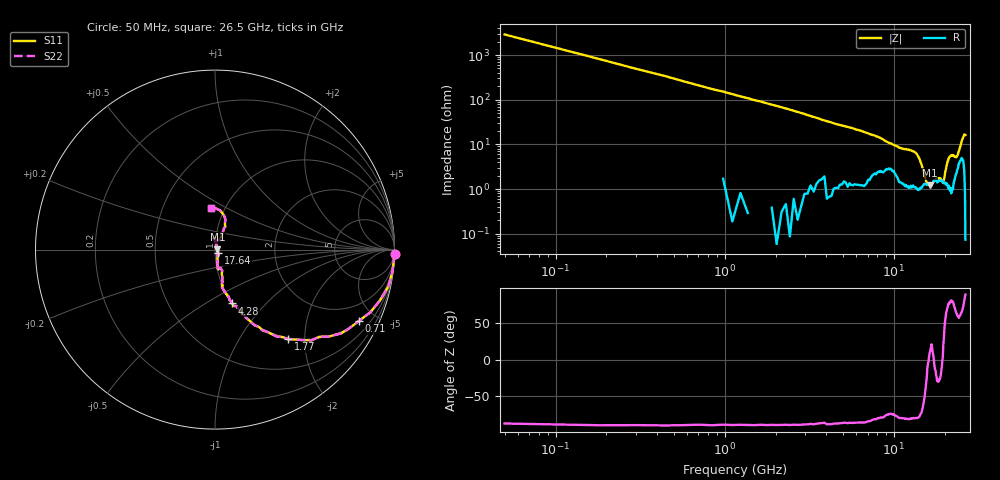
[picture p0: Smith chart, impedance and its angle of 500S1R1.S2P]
!  American Technical Ceramics  Date:  3/6/98
!  One Norden Lane
!  Huntington Station,  NY.  11746-2102
!  Tel:  (516) 547-5700  Fax:  (516) 547-5748
!  Part Number  500S1R1
!  Description: Broadband Microwave capacitor
!  Application:
# GHZ S DB R 50
! Freq  |S11|  S11 Ph  |S21|  S21 Ph  |S12|  S12 Ph  |S22|  S22 Ph
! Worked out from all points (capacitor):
!   201 points, 50 MHz to 26.5 GHz, reference 50 ohm
!   read as one part in series: C = 1.08 pF near 180 MHz
!   lowest |Z| = 1.21 ohm at 16.32 GHz (marker M1)
!   series resonance near 16.08 GHz, so ESL is about 91 pH
!   S11 on the Smith chart (normalised r, x): 50 MHz: -4, -81; 710 MHz: 1.01, -4.03; 1.77 GHz: 0.98, -1.67; 4.28 GHz: 0.99, -0.66; 17.64 GHz: 1.03, -0.04; 26.5 GHz: 0.86, +0.42
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0.05  0.01 -1.4  -29.19 86.4  -29.19 86.4  0.01 -1.4
0.18  -0.03 -7.0  -18.30 83.3  -18.30 83.3  -0.03 -7.0
0.31  -0.11 -11.9  -13.63 78.1  -13.63 78.1  -0.11 -11.9
0.71  -0.96 -26.4  -7.27 63.1  -7.27 63.1  -0.96 -26.4
1.77  -3.81 -50.7  -2.28 39.1  -2.28 39.1  -3.81 -50.7
4.28  -10.04 -72.5  -0.47 15.5  -0.47 15.5  -10.04 -72.5
4.55  -10.57 -73.3  -0.46 14.2  -0.46 14.2  -10.57 -73.3
8.91  -17.54 -73.0  -0.29 5.3  -0.29 5.3  -17.54 -73.0
13.28  -19.78 -81.8  -0.13 1.6  -0.13 1.6  -19.78 -81.8
14.47  -24.52 -76.3  -0.08 0.9  -0.08 0.9  -24.52 -76.3
15.66  -36.46 -31.9  -0.10 0.2  -0.10 0.2  -36.46 -31.9
16.32  -37.47 8.5  -0.09 -0.1  -0.09 -0.1  -37.47 8.5
16.71  -37.54 8.3  -0.09 -0.4  -0.09 -0.4  -37.54 8.3
17.64  -31.47 -50.0  -0.11 -0.8  -0.11 -0.8  -31.47 -50.0
17.77  -30.35 -53.7  -0.11 -0.8  -0.11 -0.8  -30.35 -53.7
18.96  -28.08 -66.8  -0.13 -1.4  -0.13 -1.4  -28.08 -66.8
20.02  -37.63 -5.5  -0.12 -1.9  -0.12 -1.9  -37.63 -5.5
21.08  -26.67 88.9  -0.20 -2.6  -0.20 -2.6  -26.67 88.9
22.14  -23.74 94.4  -0.27 -2.7  -0.27 -2.7  -23.74 94.4
23.59  -26.31 73.9  -0.34 -2.6  -0.34 -2.6  -26.31 73.9
25.57  -15.03 71.1  -0.49 -4.2  -0.49 -4.2  -15.03 71.1
26.5  -12.71 95.2  -0.64 -5.0  -0.64 -5.0  -12.71 95.2
